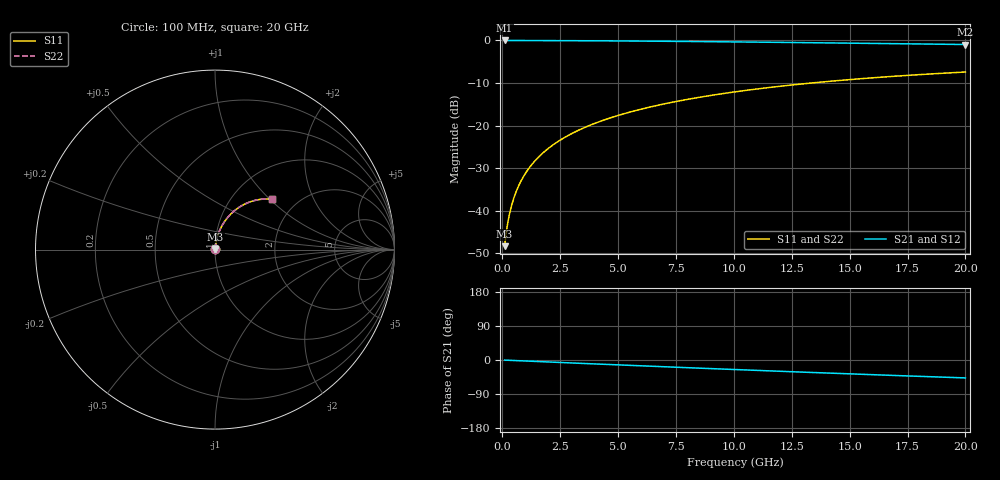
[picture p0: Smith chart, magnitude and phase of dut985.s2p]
! Touchstone file exported from HFSS 2026.1.0
!  File:  C:/ffzhzh/LocalFiles/Ansys_Project_Files/temp_train_TMRDL_985_1783159266_55132.aedt
!  Generated:  06:02:33 PM Jul  4, 2026
!  Design:  TMRDL
!  Project:  temp_train_TMRDL_985_1783159266_55132
! Variables:
!  h_bsmrdl = 2um
!  h_ox = 20um
!  h_rdl = 5um
!  h_sub = 80um
!  h_tmrdl = 5um
!  h_tsv = 80um
!  h_via = 3um
!  l_bsmrdl = 300um
!  l_sub = 1106.2um
!  l_tmrdl = 706.2um
!  m_sub = 200um
!  pitch = 51.23um
!  r_tsv = 6um
!  s_tmrdl = 10um
!  w_bsmrdl = 18um
!  w_sub = 500um
!  w_tmrdl = 21.36um
!  x_tsv_center1 = 716.88um
!  x_tsv_center2 = 1034.88um
!  x_tsv_center3 = 1762.44um
!  x_tsv_center4 = 2080.44um
!  x_tsv_center5 = 2808um
!  x_tsv_center6 = 3126um
# GHz S MA R 50.000000
! Terminal data exported
! Port[1] = TM_RDL1_1_T1
! Port[2] = TM_RDL1_1_T2
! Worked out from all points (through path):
!   200 points, 100 MHz to 20 GHz, reference 50 ohm
!   highest |S21| = -0.02 dB at 100 MHz (marker M1); lowest = -1.0 dB at 20 GHz (marker M2)
!   group delay of S21, straight-line fit = 6.57 ps
!   lowest |S11| = -48.3 dB at 100 MHz (marker M3), VSWR 1.01, Z = 50.3 + j0.293 ohm
!   |S11| at or under -10 dB: start of sweep to 13.36 GHz
!   |S22| runs from -48.3 to -7.4 dB; largest |S21 - S12| = 5.2e-15
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0.1  0.003851 49.2  0.9975 -0.3  0.9975 -0.3  0.003851 49.2
! Gamma 0 0 0 0
! Port Impedance 50 0 50 0
0.2  0.006329 64.7  0.9973 -0.5  0.9973 -0.5  0.006328 64.7
0.3  0.008925 71.0  0.9972 -0.8  0.9972 -0.8  0.008925 71.0
0.4  0.01155 74.5  0.9971 -1.1  0.9971 -1.1  0.01155 74.5
0.5  0.01419 76.7  0.997 -1.3  0.997 -1.3  0.01419 76.7
0.7  0.01951 79.1  0.9968 -1.9  0.9968 -1.9  0.01951 79.1
0.8  0.02219 79.9  0.9967 -2.1  0.9967 -2.1  0.02219 79.9
1  0.02756 80.7  0.9964 -2.6  0.9964 -2.6  0.02756 80.7
1.2  0.03293 81.1  0.9962 -3.2  0.9962 -3.2  0.03293 81.1
1.4  0.0383 81.2  0.9959 -3.7  0.9959 -3.7  0.0383 81.2
1.7  0.04633 81.1  0.9953 -4.5  0.9953 -4.5  0.04633 81.1
2  0.05433 80.7  0.9947 -5.2  0.9947 -5.2  0.05433 80.7
2.7  0.07282 79.5  0.993 -7.1  0.993 -7.1  0.07282 79.5
3.5  0.0936 77.8  0.9906 -9.1  0.9906 -9.1  0.0936 77.8
4.2  0.1115 76.2  0.9882 -10.9  0.9882 -10.9  0.1115 76.2
5  0.1315 74.4  0.9851 -12.9  0.9851 -12.9  0.1315 74.4
6.8  0.1752 70.2  0.9771 -17.4  0.9771 -17.4  0.1752 70.2
8.3  0.2101 66.7  0.9695 -21.0  0.9695 -21.0  0.2101 66.7
10.1  0.25 62.6  0.9593 -25.3  0.9593 -25.3  0.25 62.6
13.4  0.317 55.2  0.9385 -33.0  0.9385 -33.0  0.317 55.2
16.7  0.3755 48.1  0.9163 -40.3  0.9163 -40.3  0.3755 48.1
20  0.4254 41.3  0.8941 -47.3  0.8941 -47.3  0.4254 41.3
